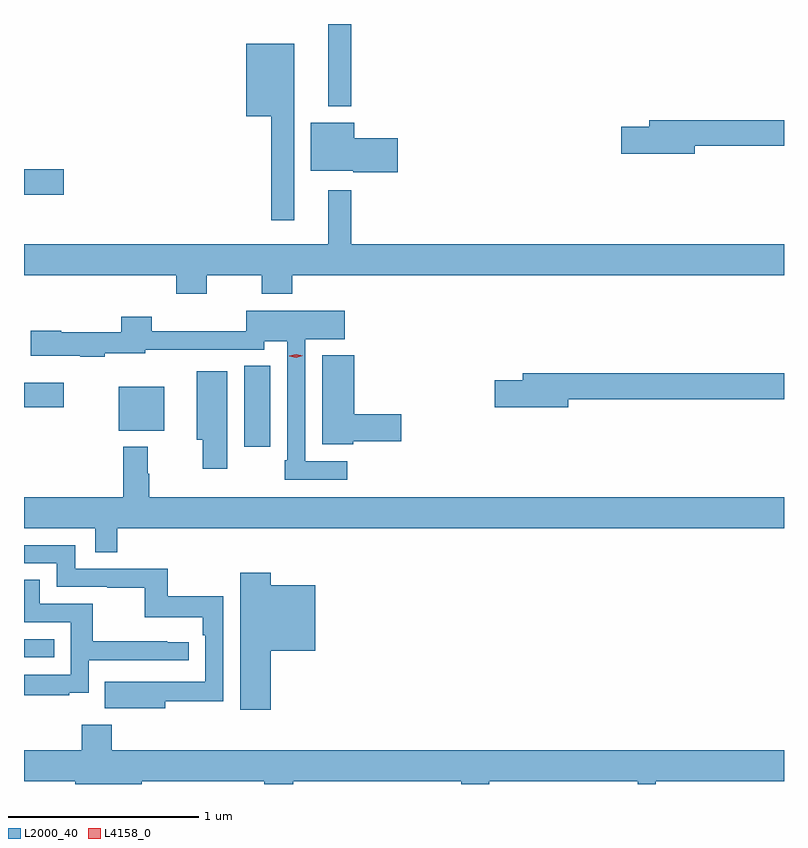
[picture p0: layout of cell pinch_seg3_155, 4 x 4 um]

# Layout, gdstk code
import gdstk
lib = gdstk.Library(unit=1e-6, precision=1e-09)
def R(c, l, rs):  # rectangles x0, y0, x1, y1
    for r in rs: c.add(gdstk.rectangle(r[:2], r[2:], *l))
def P(c, l, *ps):  # polygons
    for p in ps: c.add(gdstk.Polygon(p, *l))
L2000_40 = (2000, 40)
L4158_0 = (4158, 0)

pinch_seg3_155 = lib.new_cell('pinch_seg3_155')
R(pinch_seg3_155, L2000_40, [(1106.581,721.548,1106.741,721.644), (1107.74,722.658,1107.877,723.083), (1107.08,722.741,1107.319,722.974), (1106.581,722.866,1106.791,722.995), (1106.581,723.983,1106.791,724.118), (1108.181,724.448,1108.303,724.882)])
P(pinch_seg3_155, L2000_40, [(1108.003,724.777),(1107.752,724.777),(1107.752,724.397),(1107.882,724.397),(1107.882,723.849),(1108.003,723.849)],
  [(1110.112,724.24),(1110.581,724.24),(1110.581,724.376),(1109.873,724.376),(1109.873,724.34),(1109.724,724.34),(1109.724,724.198),(1110.112,724.198)],
  [(1108.549,724.28),(1108.318,724.28),(1108.318,724.363),(1108.091,724.363),(1108.091,724.109),(1108.314,724.109),(1108.314,724.102),(1108.549,724.102)],
  [(1107.543,723.56),(1107.832,723.56),(1107.832,723.461),(1107.992,723.461),(1107.992,723.56),(1110.581,723.56),(1110.581,723.724),(1108.303,723.724),(1108.303,724.006),(1108.181,724.006),(1108.181,723.724),(1106.581,723.724),(1106.581,723.56),(1107.383,723.56),(1107.383,723.461),(1107.543,723.461)],
  [(1108.282,722.58),(1108.062,722.58),(1108.062,723.224),(1108.27,723.224),(1108.27,723.373),(1107.75,723.373),(1107.75,723.266),(1107.254,723.266),(1107.254,723.34),(1107.094,723.34),(1107.094,723.259),(1106.778,723.259),(1106.778,723.267),(1106.616,723.267),(1106.616,723.137),(1106.878,723.137),(1106.878,723.13),(1107.005,723.13),(1107.005,723.149),(1107.219,723.149),(1107.219,723.168),(1107.846,723.168),(1107.846,723.212),(1107.966,723.212),(1107.966,722.587),(1107.954,722.587),(1107.954,722.484),(1108.282,722.484)],
  [(1108.314,722.686),(1108.567,722.686),(1108.567,722.828),(1108.318,722.828),(1108.318,723.139),(1108.151,723.139),(1108.151,722.669),(1108.314,722.669)],
  [(1107.652,723.055),(1107.491,723.055),(1107.491,722.693),(1107.523,722.693),(1107.523,722.541),(1107.652,722.541)],
  [(1109.446,722.908),(1110.581,722.908),(1110.581,723.044),(1109.207,723.044),(1109.207,723.008),(1109.058,723.008),(1109.058,722.866),(1109.446,722.866)],
  [(1107.071,722.228),(1110.581,722.228),(1110.581,722.392),(1107.239,722.392),(1107.239,722.516),(1107.232,722.516),(1107.232,722.656),(1107.103,722.656),(1107.103,722.392),(1106.581,722.392),(1106.581,722.228),(1106.955,722.228),(1106.955,722.101),(1107.071,722.101)],
  [(1107.325,721.318),(1107.63,721.318),(1107.63,721.87),(1107.337,721.87),(1107.337,722.016),(1106.85,722.016),(1106.85,722.139),(1106.581,722.139),(1106.581,722.043),(1106.754,722.043),(1106.754,721.92),(1107.019,721.92),(1107.019,721.915),(1107.216,721.915),(1107.216,721.76),(1107.521,721.76),(1107.521,721.664),(1107.534,721.664),(1107.534,721.419),(1107.221,721.419),(1107.221,721.42),(1107.007,721.42),(1107.007,721.28),(1107.325,721.28)],
  [(1107.88,721.583),(1108.114,721.583),(1108.114,721.927),(1107.88,721.927),(1107.88,721.993),(1107.719,721.993),(1107.719,721.272),(1107.88,721.272)],
  [(1106.819,721.361),(1106.922,721.361),(1106.922,721.533),(1107.448,721.533),(1107.448,721.629),(1107.335,721.629),(1107.335,721.634),(1106.942,721.634),(1106.942,721.83),(1106.665,721.83),(1106.665,721.958),(1106.581,721.958),(1106.581,721.734),(1106.826,721.734),(1106.826,721.458),(1106.581,721.458),(1106.581,721.35),(1106.819,721.35)],
  [(1107.044,721.195),(1106.884,721.195),(1106.884,721.06),(1106.581,721.06),(1106.581,720.896),(1106.852,720.896),(1106.852,720.882),(1107.202,720.882),(1107.202,720.896),(1107.845,720.896),(1107.845,720.882),(1107.997,720.882),(1107.997,720.896),(1108.882,720.896),(1108.882,720.882),(1109.029,720.882),(1109.029,720.896),(1109.81,720.896),(1109.81,720.882),(1109.907,720.882),(1109.907,720.896),(1110.581,720.896),(1110.581,721.06),(1107.044,721.06)])
P(pinch_seg3_155, L4158_0, [(1108.013,723.125),(1107.978,723.134),(1107.978,723.135),(1107.978,723.135),(1108.013,723.145),(1108.048,723.136),(1108.048,723.136),(1108.048,723.136)])

lib.write_gds('pinch_seg3_155.gds')
